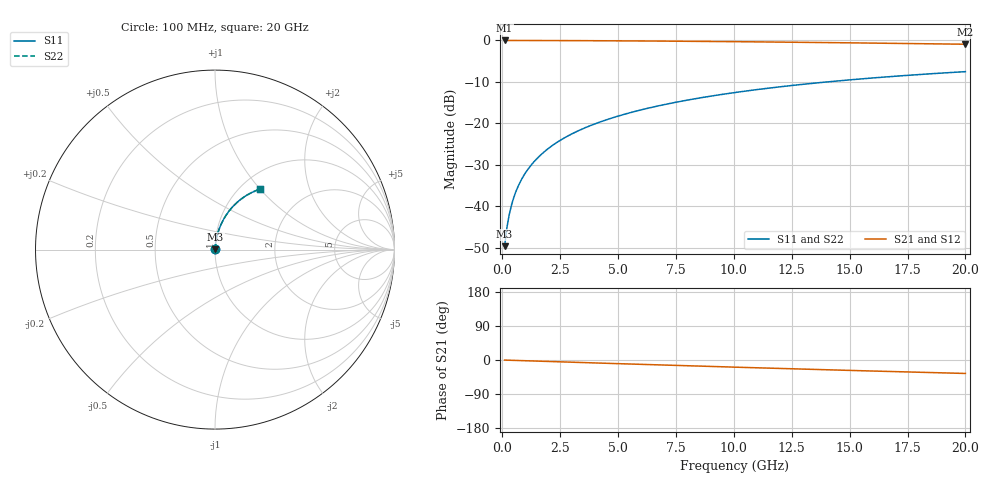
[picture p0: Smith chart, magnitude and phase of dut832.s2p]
! Touchstone file exported from HFSS 2026.1.0
!  File:  C:/ffzhzh/LocalFiles/Ansys_Project_Files/temp_train_BSMRDL_832_1783170244_22436.aedt
!  Generated:  09:05:20 PM Jul  4, 2026
!  Design:  BSMRDL
!  Project:  temp_train_BSMRDL_832_1783170244_22436
! Variables:
!  h_bsmrdl = 5.6um
!  h_ox = 20um
!  h_rdl = 5um
!  h_sub = 80um
!  h_tmrdl = 5um
!  h_tsv = 80um
!  h_via = 3um
!  l_bsmrdl = 431.65um
!  l_sub = 831.65um
!  l_tmrdl = 200um
!  m_sub = 200um
!  pitch = 59.65um
!  r_tsv = 6um
!  s_tmrdl = 10um
!  w_bsmrdl = 13.68um
!  w_sub = 500um
!  w_tmrdl = 12um
!  x_tsv_center1 = 206um
!  x_tsv_center2 = 651.33um
!  x_tsv_center3 = 863.33um
!  x_tsv_center4 = 1308.66um
!  x_tsv_center5 = 1520.66um
!  x_tsv_center6 = 1965.99um
# GHz S MA R 50.000000
! Terminal data exported
! Port[1] = BSM_RDL1_1_T1
! Port[2] = BSM_RDL1_1_T2
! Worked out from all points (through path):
!   200 points, 100 MHz to 20 GHz, reference 50 ohm
!   highest |S21| = -0.02 dB at 100 MHz (marker M1); lowest = -0.9 dB at 20 GHz (marker M2)
!   group delay of S21, straight-line fit = 4.94 ps
!   lowest |S11| = -49.6 dB at 100 MHz (marker M3), VSWR 1.01, Z = 50.2 + j0.259 ohm
!   |S11| at or under -10 dB: start of sweep to 14.05 GHz
!   |S22| runs from -49.6 to -7.5 dB; largest |S21 - S12| = 3.4e-15
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0.1  0.003312 51.1  0.9979 -0.2  0.9979 -0.2  0.003312 51.1
! Gamma 0 0 0 0
! Port Impedance 50 0 50 0
0.2  0.005561 67.2  0.9979 -0.4  0.9979 -0.4  0.005561 67.2
0.3  0.00797 73.5  0.9978 -0.6  0.9978 -0.6  0.00797 73.5
0.4  0.01042 76.9  0.9977 -0.8  0.9977 -0.8  0.01042 76.9
0.5  0.01288 78.9  0.9977 -1.0  0.9977 -1.0  0.01288 78.9
0.7  0.01783 81.1  0.9975 -1.4  0.9975 -1.4  0.01783 81.1
0.8  0.02032 81.7  0.9974 -1.6  0.9974 -1.6  0.02032 81.7
1  0.02529 82.5  0.9972 -2.0  0.9972 -2.0  0.02529 82.5
1.2  0.03027 82.9  0.997 -2.4  0.997 -2.4  0.03027 82.9
1.4  0.03524 83.0  0.9968 -2.7  0.9968 -2.7  0.03524 83.0
1.7  0.04268 83.0  0.9964 -3.3  0.9964 -3.3  0.04268 83.0
2  0.0501 82.8  0.9959 -3.9  0.9959 -3.9  0.0501 82.8
2.7  0.06727 81.9  0.9944 -5.3  0.9944 -5.3  0.06727 81.9
3.5  0.08667 80.7  0.9924 -6.8  0.9924 -6.8  0.08667 80.7
4.2  0.1034 79.5  0.9904 -8.1  0.9904 -8.1  0.1034 79.5
5  0.1223 78.1  0.9878 -9.6  0.9878 -9.6  0.1223 78.1
6.8  0.1639 75.0  0.9808 -13.0  0.9808 -13.0  0.1639 75.0
8.3  0.1975 72.4  0.974 -15.7  0.974 -15.7  0.1975 72.4
10.1  0.2365 69.3  0.9648 -19.0  0.9648 -19.0  0.2365 69.3
13.4  0.3038 63.8  0.945 -24.8  0.945 -24.8  0.3038 63.8
16.7  0.3651 58.4  0.9226 -30.3  0.9226 -30.3  0.3651 58.4
20  0.4202 53.3  0.8987 -35.5  0.8987 -35.5  0.4202 53.3
